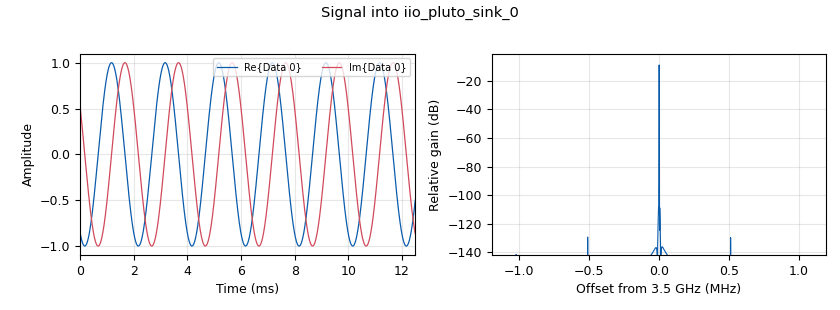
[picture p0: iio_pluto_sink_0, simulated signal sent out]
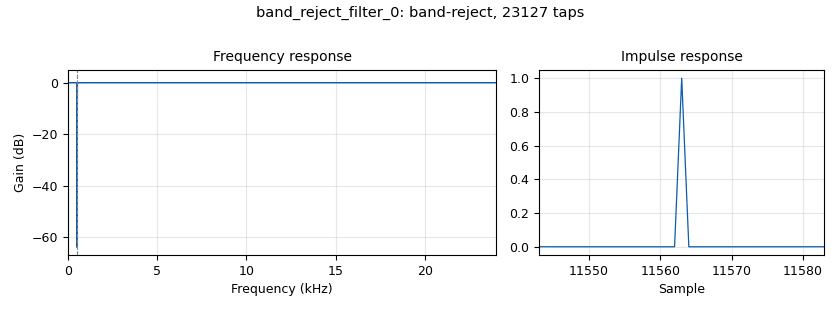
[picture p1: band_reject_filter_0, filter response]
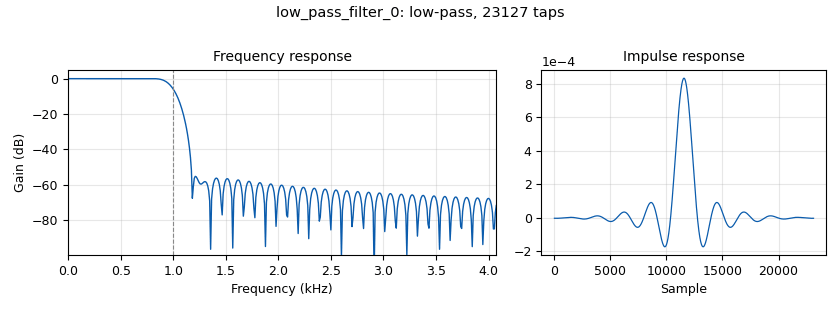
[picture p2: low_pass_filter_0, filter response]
options:
  parameters:
    generate_options: qt_gui
    id: lesson08b_Pluto_Doppler_RADAR
    output_language: python
    title: lesson08b_Pluto_Doppler_RADAR
  states: {}

blocks:
- name: LO_freq
  id: variable
  parameters:
    value: '2400000000'
  states: {state: disabled}
- name: LO_freq
  id: variable
  parameters:
    value: '3500000000'
  states: {}
- name: LO_freq
  id: variable
  parameters:
    value: '3800000000'
  states: {state: disabled}
- name: audio_gain
  id: variable_qtgui_range
  parameters:
    orient: Qt.Horizontal
    start: '0'
    step: '0.1'
    stop: '10'
    value: '1'
  states: {}
- name: decimation
  id: variable
  parameters:
    value: '50'
  states: {}
- name: pass_fractional_bandwidth
  id: variable_qtgui_range
  parameters:
    orient: Qt.Horizontal
    start: '0'
    step: '0.01'
    stop: '.99'
    value: '.5'
  states: {state: disabled}
- name: reject_fractional_bandwidth
  id: variable_qtgui_range
  parameters:
    orient: Qt.Horizontal
    start: '0'
    step: '0.001'
    stop: '0.200'
    value: '0.010'
  states: {}
- name: rx_gain
  id: variable_qtgui_range
  parameters:
    orient: Qt.Horizontal
    start: '0'
    step: '1'
    stop: '100'
    value: '64'
  states: {}
- name: samp_rate
  id: variable
  parameters:
    value: '2400000'
  states: {}
- name: tone
  id: variable_qtgui_range
  parameters:
    orient: Qt.Horizontal
    start: '-2000'
    step: '1'
    stop: '2000'
    value: '500'
  states: {}
- name: tx_attenuation
  id: variable_qtgui_range
  parameters:
    orient: Qt.Horizontal
    start: '0'
    step: '1'
    stop: '100'
    value: '50'
  states: {}
- name: analog_sig_source_x_0
  id: analog_sig_source_x
  parameters:
    amp: '1'
    freq: tone
    offset: '0'
    phase: '0'
    samp_rate: samp_rate
    type: complex
    waveform: analog.GR_COS_WAVE
  states: {}
- name: audio_sink_0
  id: audio_sink
  parameters:
    samp_rate: '48000'
  states: {}
- name: band_pass_filter_0
  id: band_pass_filter
  parameters:
    decim: '50'
    gain: '1'
    high_cutoff_freq: tone*(1+pass_fractional_bandwidth)
    low_cutoff_freq: tone*(1-pass_fractional_bandwidth)
    samp_rate: samp_rate
    type: fir_filter_ccf
    width: tone*pass_fractional_bandwidth
    win: firdes.WIN_HAMMING
  states: {state: disabled}
- name: band_reject_filter_0
  id: band_reject_filter
  parameters:
    decim: '1'
    gain: '1'
    high_cutoff_freq: tone*(1+reject_fractional_bandwidth)
    low_cutoff_freq: tone*(1-reject_fractional_bandwidth)
    samp_rate: samp_rate/decimation
    type: fir_filter_ccf
    width: tone*reject_fractional_bandwidth
    win: firdes.WIN_HAMMING
  states: {}
- name: blocks_complex_to_real_0
  id: blocks_complex_to_real
  parameters: {}
  states: {}
- name: blocks_keep_one_in_n_0
  id: blocks_keep_one_in_n
  parameters:
    n: '10'
    type: complex
  states: {state: disabled}
- name: blocks_multiply_const_vxx_0
  id: blocks_multiply_const_vxx
  parameters:
    const: audio_gain
    type: complex
  states: {}
- name: iio_pluto_sink_0
  id: iio_pluto_sink
  parameters:
    attenuation1: tx_attenuation
    auto_filter: 'True'
    bandwidth: '20000000'
    buffer_size: '32768'
    cyclic: 'False'
    frequency: LO_freq
    samplerate: samp_rate
    uri: 192.168.2.1
  states: {}
- name: iio_pluto_source_0
  id: iio_pluto_source
  parameters:
    auto_filter: 'True'
    bandwidth: '20000000'
    bbdc: 'True'
    buffer_size: '32768'
    frequency: LO_freq
    gain1: '''manual'''
    manual_gain1: rx_gain
    quadrature: 'True'
    rfdc: 'True'
    samplerate: samp_rate
    uri: 192.168.2.1
  states: {state: disabled}
- name: iio_pluto_source_1
  id: iio_pluto_source
  parameters:
    auto_filter: 'True'
    bandwidth: '20000000'
    bbdc: 'True'
    buffer_size: '32768'
    frequency: '2400000000'
    gain1: '''manual'''
    manual_gain1: '64'
    quadrature: 'True'
    rfdc: 'True'
    samplerate: '2084000'
    uri: 192.168.2.1
  states: {}
- name: low_pass_filter_0
  id: low_pass_filter
  parameters:
    cutoff_freq: tone*2
    decim: decimation
    gain: '1'
    samp_rate: samp_rate
    type: fir_filter_ccf
    width: tone/2
    win: firdes.WIN_HAMMING
  states: {}
- name: qtgui_freq_sink_x_0
  id: qtgui_freq_sink_x
  parameters:
    bw: samp_rate
    fc: '0'
    fftsize: 1024*8
    label1: raw
    type: complex
    wintype: firdes.WIN_BLACKMAN_hARRIS
  states: {}
- name: qtgui_freq_sink_x_0_0
  id: qtgui_freq_sink_x
  parameters:
    bw: samp_rate/decimation
    fc: '0'
    fftsize: 1024*8
    label1: lpf
    type: complex
    wintype: firdes.WIN_BLACKMAN_hARRIS
  states: {}
- name: qtgui_freq_sink_x_0_0_0
  id: qtgui_freq_sink_x
  parameters:
    bw: samp_rate/decimation
    fc: '0'
    fftsize: '16000'
    label1: band reject
    type: complex
    wintype: firdes.WIN_BLACKMAN_hARRIS
  states: {}
- name: qtgui_freq_sink_x_0_0_0_0
  id: qtgui_freq_sink_x
  parameters:
    bw: samp_rate/decimation/10
    fc: '0'
    fftsize: 1024*2
    label1: zoomed
    type: complex
    wintype: firdes.WIN_BLACKMAN_hARRIS
  states: {state: disabled}
- name: qtgui_time_sink_x_0
  id: qtgui_time_sink_x
  parameters:
    label1: raw re
    label2: raw im
    size: 1024*8
    srate: samp_rate
    type: complex
  states: {}
- name: qtgui_time_sink_x_0_0
  id: qtgui_time_sink_x
  parameters:
    label1: lpf re
    label2: lpf im
    size: '1024'
    srate: samp_rate/decimation
    type: complex
  states: {}
- name: qtgui_time_sink_x_0_0_0
  id: qtgui_time_sink_x
  parameters:
    label1: band reject re
    label2: band reject im
    size: '1024'
    srate: samp_rate/decimation
    type: complex
  states: {}

connections:
- [analog_sig_source_x_0, '0', iio_pluto_sink_0, '0']
- [band_reject_filter_0, '0', blocks_multiply_const_vxx_0, '0']
- [blocks_complex_to_real_0, '0', audio_sink_0, '0']
- [blocks_keep_one_in_n_0, '0', qtgui_freq_sink_x_0_0_0_0, '0']
- [blocks_multiply_const_vxx_0, '0', blocks_complex_to_real_0, '0']
- [blocks_multiply_const_vxx_0, '0', blocks_keep_one_in_n_0, '0']
- [blocks_multiply_const_vxx_0, '0', qtgui_freq_sink_x_0_0_0, '0']
- [blocks_multiply_const_vxx_0, '0', qtgui_time_sink_x_0_0_0, '0']
- [iio_pluto_source_0, '0', low_pass_filter_0, '0']
- [iio_pluto_source_0, '0', qtgui_freq_sink_x_0, '0']
- [iio_pluto_source_0, '0', qtgui_time_sink_x_0, '0']
- [iio_pluto_source_1, '0', low_pass_filter_0, '0']
- [iio_pluto_source_1, '0', qtgui_freq_sink_x_0, '0']
- [iio_pluto_source_1, '0', qtgui_time_sink_x_0, '0']
- [low_pass_filter_0, '0', band_reject_filter_0, '0']
- [low_pass_filter_0, '0', qtgui_freq_sink_x_0_0, '0']
- [low_pass_filter_0, '0', qtgui_time_sink_x_0_0, '0']

metadata:
  file_format: 1
